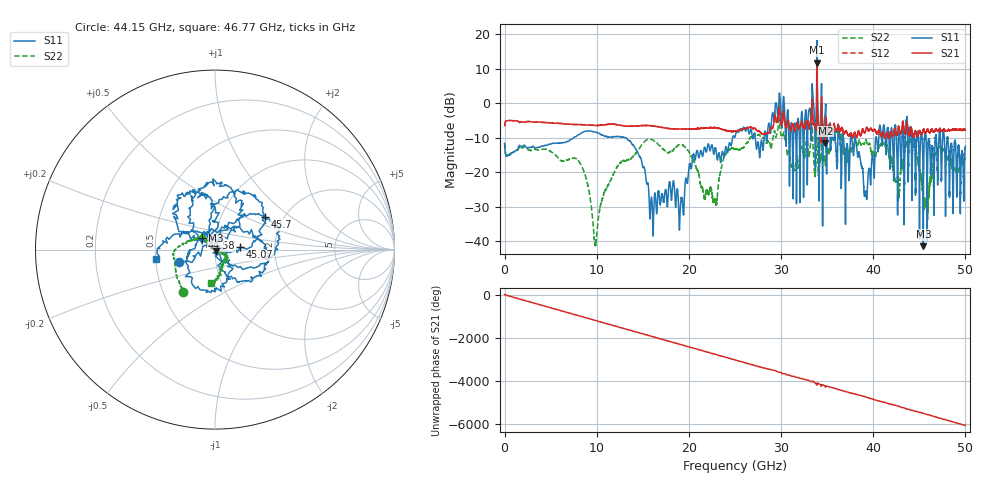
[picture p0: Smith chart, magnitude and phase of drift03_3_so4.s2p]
!Created with skrf (http://scikit-rf.org).
# Hz S RI R 50.0
!freq ReS11 ImS11 ReS21 ImS21 ReS12 ImS12 ReS22 ImS22
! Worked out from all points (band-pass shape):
!   10001 points, 300 kHz to 50 GHz, reference 50 ohm
!   highest |S21| = 11.68 dB at 33.9 GHz (marker M1); lowest = -11.6 dB at 34.8 GHz (marker M2)
!   |S21| within 3 dB of the highest: 33.88976 GHz to 33.90752 GHz (17.77 MHz wide, 0.0524 % of centre)
!   lowest |S11| = -41.4 dB at 45.44 GHz (marker M3), VSWR 1.02, Z = 50.6 - j0.596 ohm
!   |S11| at or under -10 dB: start of sweep to 7.486 GHz; 13.13 GHz to 24.74 GHz (11.62 GHz wide, 61.4 % of centre); 38.06 GHz to 40.28 GHz (2.221 GHz wide, 5.67 % of centre) (the widest 3 of 61)
!   |S22| runs from -41.3 to 3.9 dB; largest |S21 - S12| = 0.28
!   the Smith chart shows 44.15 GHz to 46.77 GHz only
!   S11 on the Smith chart (normalised r, x): 44.15 GHz: 0.66, -0.10; 44.58 GHz: 0.86, +0.11; 45.07 GHz: 1.33, +0.04; 45.7 GHz: 1.62, +0.66; 46.77 GHz: 0.50, -0.06
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300000  -0.2358 -0.1132  0.4662 0.0752  0.4655 0.075  -0.2351 -0.1208
1.440291e9  0.2098 0.0644  -0.5479 -0.0288  -0.5481 -0.0286  0.211 -0.00472
2.915283e9  -0.2118 -0.0877  0.5341 0.0507  0.534 0.0509  -0.2028 0.0401
4.415274e9  0.2068 0.1316  -0.5218 -0.041  -0.5217 -0.0409  0.197 -0.0876
8.33525e9  0.288 -0.2339  0.1476 0.4648  0.1479 0.465  -0.0734 -0.1002
9.855241e9  -0.3607 0.1351  -0.1587 -0.4481  -0.1588 -0.4484  0.00867 0.0027
1.66702e10  0.0279 0.0442  -0.3756 0.2555  -0.3765 0.2558  -0.1255 -0.2176
2.500015e10  -0.3257 -0.0114  -0.257 -0.2936  -0.2562 -0.2949  -0.2125 0.0271
2.932012e10  -0.0323 0.7491  0.0367 0.6676  -0.0157 0.7564  0.1755 0.3482
3.084511e10  0.3279 -0.0357  -0.2455 -0.447  -0.2458 -0.4449  -0.1932 -0.0555
3.217511e10  0.14 0.5619  0.1012 0.4894  0.0933 0.5001  0.2299 0.0194
3.33351e10  0.5643 -0.7739  0.2367 -0.8107  0.2351 -0.791  -0.1898 -0.4021
3.39001e10  2.353 -7.608  -3.588 -1.356  -3.491 -1.102  -0.44 1.495
3.480009e10  -0.749 0.1022  0.0135 0.2636  0.0263 0.3287  0.1007 -0.1426
4.167005e10  -0.1733 0.3013  0.3119 0.00676  0.3123 0.013  -0.1937 -0.00667
4.415004e10  -0.1987 -0.0699  0.2543 0.3529  0.2429 0.355  -0.1802 -0.2362
4.458003e10  -0.0732 0.0632  0.3862 0.0359  0.3884 0.0381  -0.2318 -0.0104
4.506503e10  0.1403 0.0135  0.2753 -0.2769  0.2781 -0.2716  -0.0693 0.0784
4.543503e10  0.00614 -0.00589  -0.0264 -0.4113  -0.025 -0.4102  -0.0288 0.0345
4.570003e10  0.2813 0.1814  -0.2112 -0.3075  -0.2115 -0.3062  0.0118 0.0327
4.676502e10  -0.3314 -0.0533  -0.0841 0.4168  -0.0859 0.4146  -0.0246 -0.1837
5e10  -0.1298 -0.1984  0.1512 0.3815  0.1516 0.3796  -0.056 -0.144
